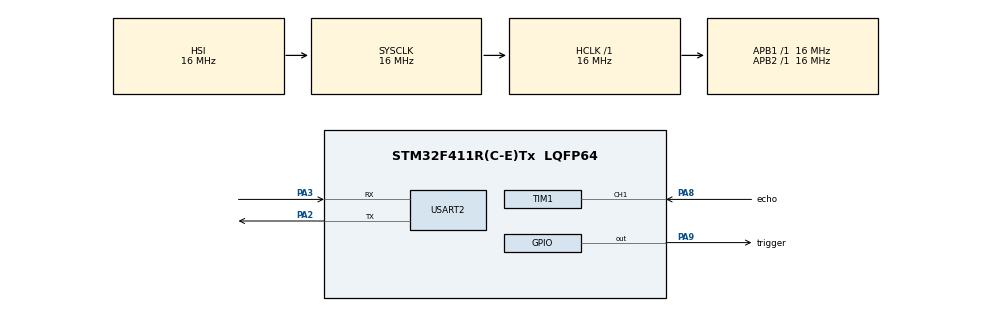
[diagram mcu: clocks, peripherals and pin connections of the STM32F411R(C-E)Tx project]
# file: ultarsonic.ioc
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Mcu.Family=STM32F4
Mcu.Name=STM32F411R(C-E)Tx
Mcu.Package=LQFP64
NVIC.PriorityGroup=NVIC_PRIORITYGROUP_4
NVIC.TIM1_CC_IRQn=true\:0\:0\:false\:false\:true\:true\:true\:true
NVIC.USART2_IRQn=true\:0\:0\:false\:false\:true\:true\:true\:true
PA2.Mode=Asynchronous
PA2.Signal=USART2_TX
PA3.Mode=Asynchronous
PA3.Signal=USART2_RX
PA8.GPIO_Label=echo
PA8.Signal=S_TIM1_CH1
PA9.GPIO_Label=trigger
PA9.Signal=GPIO_Output
ProjectManager.HeapSize=0x200
ProjectManager.StackSize=0x400
ProjectManager.TargetToolchain=STM32CubeIDE
RCC.AHBFreq_Value=16000000
RCC.APB1Freq_Value=16000000
RCC.APB2Freq_Value=16000000
RCC.CortexFreq_Value=16000000
RCC.HSE_VALUE=25000000
RCC.HSI_VALUE=16000000
RCC.LSE_VALUE=32768
RCC.SYSCLKFreq_VALUE=16000000
RCC.VCOOutputFreq_Value=192000000
SH.S_TIM1_CH1.0=TIM1_CH1,Input_Capture1_from_TI1
TIM1.Channel-Input_Capture1_from_TI1=TIM_CHANNEL_1
TIM1.Prescaler=16-1
TIM10.Prescaler=16-1
USART2.VirtualMode=VM_ASYNC
VP_TIM10_VS_ClockSourceINT.Mode=Enable_Timer
VP_TIM1_VS_ClockSourceINT.Mode=Internal
board=custom

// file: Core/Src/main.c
/* USER CODE BEGIN Header */
/**
  ******************************************************************************
  * @file           : main.c
  * @brief          : Main program body
  ******************************************************************************
  * @attention
  *
  * Copyright (c) 2024 STMicroelectronics.
  * All rights reserved.
  *
  * This software is licensed under terms that can be found in the LICENSE file
  * in the root directory of this software component.
  * If no LICENSE file comes with this software, it is provided AS-IS.
  *
  ******************************************************************************
  */
/* USER CODE END Header */
#include "main.h"

/* USER CODE BEGIN Includes */
#include "uart.h"
#include "filter.h"
#include <stdio.h>
/* USER CODE END Includes */

TIM_HandleTypeDef htim1;
TIM_HandleTypeDef htim10;

UART_HandleTypeDef huart2;

void SystemClock_Config(void);
static void MX_GPIO_Init(void);
static void MX_TIM1_Init(void);
static void MX_TIM10_Init(void);
static void MX_USART2_UART_Init(void);

/* USER CODE BEGIN 0 */
void delayUs(uint16_t time){
	htim10.Instance->CNT = 0;
	while(htim10.Instance->CNT < time);
}

uint32_t IC_Val1 = 0;
uint32_t IC_Val2 = 0;
uint32_t Difference = 0;
uint8_t IsFirstCaptured = 0;
uint32_t Distance=0;

void HAL_TIM_IC_CaptureCallback(TIM_HandleTypeDef *htim){ //인터럽트 발생 시, htim에 그 값을 할당
	if(htim->Channel == HAL_TIM_ACTIVE_CHANNEL_1){
		// 상승 인터런트
		// echo가 0->1이 되는 지점 : 거리 측정 시작
		if(IsFirstCaptured == 0){
			IC_Val1 = HAL_TIM_ReadCapturedValue(htim, TIM_CHANNEL_1);
			IsFirstCaptured = 1; // 하강 인터럽트로 전좐
			__HAL_TIM_SET_CAPTUREPOLARITY(htim, TIM_CHANNEL_1, TIM_INPUTCHANNELPOLARITY_FALLING);
			//__HAL_TIM_SET_CAPTUREPOLARITY 함수를 사용하여 falling edge를 감지하도록 타이머 채널의 캡처 극성 변경
		}
		else if(IsFirstCaptured == 1){ // 하강 인터럽트 : 거리 측정이 끝난 지점
			// 타이머 값을 읽음 -> CNT 값을 읽어옴
			IC_Val2 = HAL_TIM_ReadCapturedValue(htim, TIM_CHANNEL_1);
			htim->Instance->CNT = 0; // 다음번 카운트를 위해 0으로 초기화
			if(IC_Val2 > IC_Val1) Difference = IC_Val2 - IC_Val1;
			else if(IC_Val1> IC_Val2) Difference = (0xffff - IC_Val1) + IC_Val2;
			//타이머가 끝까지 간 순간, 타이머 값이 65535에서 0으로 바뀌기 떄문에 0xffff에서 IC_Val1을 빼고 Val2를 더함
			Distance = Difference * 0.034 / 2;
			IsFirstCaptured = 0;

			// 다음 인터럽트를 상승에서 발생하도록 설정
			__HAL_TIM_SET_CAPTUREPOLARITY(htim, TIM_CHANNEL_1, TIM_INPUTCHANNELPOLARITY_RISING);
			// 인터럽트 비활성
			__HAL_TIM_DISABLE_IT(htim, TIM_IT_CC1);
		}
	}
}

uint32_t getDistance(){
	HAL_GPIO_WritePin(trigger_GPIO_Port, trigger_Pin, 1);
	delayUs(10);
	HAL_GPIO_WritePin(trigger_GPIO_Port, trigger_Pin, 0);

	// 인터럽트 활성
	__HAL_TIM_ENABLE_IT(&htim1, TIM_IT_CC1);
	return Distance;
}
/* USER CODE END 0 */

int main(void)
{

  /* MCU Configuration--------------------------------------------------------*/

  /* Reset of all peripherals, Initializes the Flash interface and the Systick. */
  HAL_Init();

  /* Configure the system clock */
  SystemClock_Config();

  /* Initialize all configured peripherals */
  MX_GPIO_Init();
  MX_TIM1_Init();
  MX_TIM10_Init();
  MX_USART2_UART_Init();
  /* USER CODE BEGIN 2 */
  initUART(&huart2);
  HAL_TIM_Base_Start(&htim10);
  HAL_TIM_IC_Start_IT(&htim1, TIM_CHANNEL_1);
  /* USER CODE END 2 */

  /* Infinite loop */
  /* USER CODE BEGIN WHILE */
  while (1)
  {
	  uint16_t value = getDistance();
	  printf("%d\t%d\t%d\n",value, movingAvgFilter(value), (int)Kalman((double)value));
	  HAL_Delay(1000);
    /* USER CODE END WHILE */

  }
}

void SystemClock_Config(void)
{
  RCC_OscInitTypeDef RCC_OscInitStruct = {0};
  RCC_ClkInitTypeDef RCC_ClkInitStruct = {0};

  /** Configure the main internal regulator output voltage
  */
  __HAL_RCC_PWR_CLK_ENABLE();
  __HAL_PWR_VOLTAGESCALING_CONFIG(PWR_REGULATOR_VOLTAGE_SCALE1);

  /** Initializes the RCC Oscillators according to the specified parameters
  * in the RCC_OscInitTypeDef structure.
  */
  RCC_OscInitStruct.OscillatorType = RCC_OSCILLATORTYPE_HSI;
  RCC_OscInitStruct.HSIState = RCC_HSI_ON;
  RCC_OscInitStruct.HSICalibrationValue = RCC_HSICALIBRATION_DEFAULT;
  RCC_OscInitStruct.PLL.PLLState = RCC_PLL_NONE;
  if (HAL_RCC_OscConfig(&RCC_OscInitStruct) != HAL_OK)
  {
    Error_Handler();
  }

  /** Initializes the CPU, AHB and APB buses clocks
  */
  RCC_ClkInitStruct.ClockType = RCC_CLOCKTYPE_HCLK|RCC_CLOCKTYPE_SYSCLK
                              |RCC_CLOCKTYPE_PCLK1|RCC_CLOCKTYPE_PCLK2;
  RCC_ClkInitStruct.SYSCLKSource = RCC_SYSCLKSOURCE_HSI;
  RCC_ClkInitStruct.AHBCLKDivider = RCC_SYSCLK_DIV1;
  RCC_ClkInitStruct.APB1CLKDivider = RCC_HCLK_DIV1;
  RCC_ClkInitStruct.APB2CLKDivider = RCC_HCLK_DIV1;

  if (HAL_RCC_ClockConfig(&RCC_ClkInitStruct, FLASH_LATENCY_0) != HAL_OK)
  {
    Error_Handler();
  }
}

static void MX_TIM1_Init(void)
{

  TIM_ClockConfigTypeDef sClockSourceConfig = {0};
  TIM_MasterConfigTypeDef sMasterConfig = {0};
  TIM_IC_InitTypeDef sConfigIC = {0};

  htim1.Instance = TIM1;
  htim1.Init.Prescaler = 16-1;
  htim1.Init.CounterMode = TIM_COUNTERMODE_UP;
  htim1.Init.Period = 65535;
  htim1.Init.ClockDivision = TIM_CLOCKDIVISION_DIV1;
  htim1.Init.RepetitionCounter = 0;
  htim1.Init.AutoReloadPreload = TIM_AUTORELOAD_PRELOAD_DISABLE;
  if (HAL_TIM_Base_Init(&htim1) != HAL_OK)
  {
    Error_Handler();
  }
  sClockSourceConfig.ClockSource = TIM_CLOCKSOURCE_INTERNAL;
  if (HAL_TIM_ConfigClockSource(&htim1, &sClockSourceConfig) != HAL_OK)
  {
    Error_Handler();
  }
  if (HAL_TIM_IC_Init(&htim1) != HAL_OK)
  {
    Error_Handler();
  }
  sMasterConfig.MasterOutputTrigger = TIM_TRGO_RESET;
  sMasterConfig.MasterSlaveMode = TIM_MASTERSLAVEMODE_DISABLE;
  if (HAL_TIMEx_MasterConfigSynchronization(&htim1, &sMasterConfig) != HAL_OK)
  {
    Error_Handler();
  }
  sConfigIC.ICPolarity = TIM_INPUTCHANNELPOLARITY_RISING;
  sConfigIC.ICSelection = TIM_ICSELECTION_DIRECTTI;
  sConfigIC.ICPrescaler = TIM_ICPSC_DIV1;
  sConfigIC.ICFilter = 0;
  if (HAL_TIM_IC_ConfigChannel(&htim1, &sConfigIC, TIM_CHANNEL_1) != HAL_OK)
  {
    Error_Handler();
  }

}

static void MX_TIM10_Init(void)
{

  htim10.Instance = TIM10;
  htim10.Init.Prescaler = 16-1;
  htim10.Init.CounterMode = TIM_COUNTERMODE_UP;
  htim10.Init.Period = 65535;
  htim10.Init.ClockDivision = TIM_CLOCKDIVISION_DIV1;
  htim10.Init.AutoReloadPreload = TIM_AUTORELOAD_PRELOAD_DISABLE;
  if (HAL_TIM_Base_Init(&htim10) != HAL_OK)
  {
    Error_Handler();
  }

}

static void MX_USART2_UART_Init(void)
{

  huart2.Instance = USART2;
  huart2.Init.BaudRate = 115200;
  huart2.Init.WordLength = UART_WORDLENGTH_8B;
  huart2.Init.StopBits = UART_STOPBITS_1;
  huart2.Init.Parity = UART_PARITY_NONE;
  huart2.Init.Mode = UART_MODE_TX_RX;
  huart2.Init.HwFlowCtl = UART_HWCONTROL_NONE;
  huart2.Init.OverSampling = UART_OVERSAMPLING_16;
  if (HAL_UART_Init(&huart2) != HAL_OK)
  {
    Error_Handler();
  }

}

static void MX_GPIO_Init(void)
{
  GPIO_InitTypeDef GPIO_InitStruct = {0};

  /* GPIO Ports Clock Enable */
  __HAL_RCC_GPIOA_CLK_ENABLE();

  /*Configure GPIO pin Output Level */
  HAL_GPIO_WritePin(trigger_GPIO_Port, trigger_Pin, GPIO_PIN_RESET);

  /*Configure GPIO pin : trigger_Pin */
  GPIO_InitStruct.Pin = trigger_Pin;
  GPIO_InitStruct.Mode = GPIO_MODE_OUTPUT_PP;
  GPIO_InitStruct.Pull = GPIO_NOPULL;
  GPIO_InitStruct.Speed = GPIO_SPEED_FREQ_LOW;
  HAL_GPIO_Init(trigger_GPIO_Port, &GPIO_InitStruct);

}

void Error_Handler(void)
{
  __disable_irq();
  while (1)
  {
  }
}
